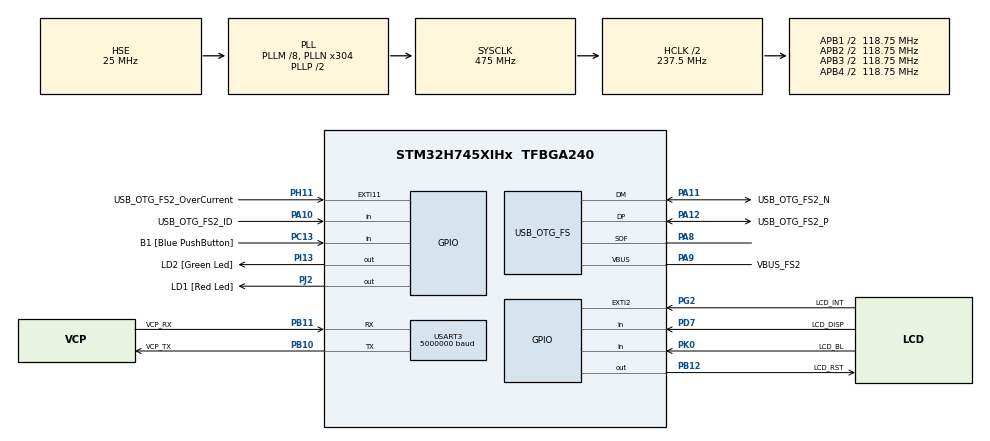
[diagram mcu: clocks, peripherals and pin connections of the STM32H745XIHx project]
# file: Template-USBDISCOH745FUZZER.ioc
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CRC.InputDataFormat=CRC_INPUTDATA_FORMAT_WORDS
CRC.InputDataInversionMode=CRC_INPUTDATA_INVERSION_WORD
CRC.OutputDataInversionMode=CRC_OUTPUTDATA_INVERSION_ENABLE
CortexM4.IPs=FATFS_M4\:I,FREERTOS_M4\:I,IWDG2\:I,RCC,USB_DEVICE_M4\:I,USB_HOST_M4\:I,WWDG2\:I,DMA,BDMA,MDMA,NVIC2\:I,SAI2\:I,LTDC\:I,SAI4\:I,DEBUG,PDM2PCM_M4\:I,PWR,RESMGR_UTILITY,SYS_M4\:I,CORTEX_M4\:I,OPENAMP_M4\:I,VREFBUF,GPIO,TIM17\:I
CortexM7.IPs=FATFS_M7\:I,FREERTOS_M7\:I,IWDG1\:I,RCC\:I,USB_DEVICE_M7\:I,USB_HOST_M7\:I,WWDG1\:I,DMA\:I,BDMA\:I,MDMA\:I,NVIC1\:I,CORTEX_M7\:I,DEBUG\:I,PDM2PCM_M7\:I,PWR\:I,RESMGR_UTILITY\:I,SYS\:I,OPENAMP_M7\:I,VREFBUF\:I,GPIO\:I,USART3\:I,USB_OTG_FS\:I,TIM16\:I,CRC\:I,RNG\:I
Mcu.Family=STM32H7
Mcu.Name=STM32H745XIHx
Mcu.Package=TFBGA240
NVIC1.OTG_FS_IRQn=true\:5\:0\:true\:false\:true\:false\:true\:true
NVIC1.PriorityGroup=NVIC_PRIORITYGROUP_4
NVIC1.TIM16_IRQn=true\:0\:0\:true\:false\:true\:false\:true\:true
NVIC1.TimeBase=TIM16_IRQn
NVIC1.TimeBaseIP=TIM16
NVIC1.USART3_IRQn=true\:5\:0\:true\:false\:true\:true\:true\:true
NVIC2.PriorityGroup=NVIC_PRIORITYGROUP_4
NVIC2.TIM17_IRQn=true\:15\:0\:false\:false\:true\:false\:true\:true
NVIC2.TimeBase=TIM17_IRQn
NVIC2.TimeBaseIP=TIM17
PA1.GPIO_Label=MII_RX_CLK
PA1.PinAttribute=CortexM4
PA1.Signal=ETH_RX_CLK
PA10.GPIO_Label=USB_OTG_FS2_ID
PA10.PinAttribute=Free
PA10.Signal=GPIO_Input
PA11.GPIO_Label=USB_OTG_FS2_N
PA11.Mode=Device_Only
PA11.PinAttribute=CortexM7
PA11.Signal=USB_OTG_FS_DM
PA12.GPIO_Label=USB_OTG_FS2_P
PA12.Mode=Device_Only
PA12.PinAttribute=CortexM7
PA12.Signal=USB_OTG_FS_DP
PA2.GPIO_Label=MII_MDIO
PA2.PinAttribute=CortexM4
PA2.Signal=ETH_MDIO
PA7.GPIO_Label=MII_RX_DV
PA7.PinAttribute=CortexM4
PA7.Signal=ETH_RX_DV
PA8.Mode=Activate_SOF_FS
PA8.PinAttribute=CortexM7
PA8.Signal=USB_OTG_FS_SOF
PA9.GPIO_Label=VBUS_FS2
PA9.Mode=Activate_VBUS
PA9.PinAttribute=CortexM7
PA9.Signal=USB_OTG_FS_VBUS
PB0.GPIO_Label=MII_RXD2
PB0.PinAttribute=CortexM4
PB0.Signal=ETH_RXD2
PB1.GPIO_Label=MII_RXD3
PB1.PinAttribute=CortexM4
PB1.Signal=ETH_RXD3
PB10.GPIO_Label=VCP_TX
PB10.Mode=Asynchronous
PB10.PinAttribute=CortexM7
PB10.Signal=USART3_TX
PB11.GPIO_Label=VCP_RX
PB11.Mode=Asynchronous
PB11.PinAttribute=CortexM7
PB11.Signal=USART3_RX
PB12.GPIO_Label=LCD_RST
PB12.PinAttribute=Free
PB12.Signal=GPIO_Output
PB13.GPIO_Label=FDCAN2_TX
PB13.PinAttribute=CortexM4
PB13.Signal=FDCAN2_TX
PB5.GPIO_Label=FDCAN2_RX
PB5.PinAttribute=CortexM4
PB5.Signal=FDCAN2_RX
PB6.PinAttribute=CortexM4
PB6.Signal=QUADSPI_BK1_NCS
PB8.GPIO_Label=SDIO1_D4
PB8.PinAttribute=CortexM4
PB8.Signal=SDMMC1_D4
PB9.GPIO_Label=SDIO1_D5
PB9.PinAttribute=CortexM4
PB9.Signal=SDMMC1_D5
PC1.GPIO_Label=MII_MDC
PC1.PinAttribute=CortexM4
PC1.Signal=ETH_MDC
PC10.GPIO_Label=SDIO1_D2
PC10.PinAttribute=CortexM4
PC10.Signal=SDMMC1_D2
PC11.GPIO_Label=SDIO1_D3
PC11.PinAttribute=CortexM4
PC11.Signal=SDMMC1_D3
PC12.GPIO_Label=SDIO1_CK
PC12.PinAttribute=CortexM4
PC12.Signal=SDMMC1_CK
PC13.GPIO_Label=B1 [Blue PushButton]
PC13.PinAttribute=Free
PC13.Signal=GPIO_Input
PC14-OSC32_IN\ (OSC32_IN).GPIO_Label=OSC32_IN
PC14-OSC32_IN\ (OSC32_IN).PinAttribute=CortexM7
PC14-OSC32_IN\ (OSC32_IN).Signal=RCC_OSC32_IN
PC15-OSC32_OUT\ (OSC32_OUT).GPIO_Label=OSC32_OUT
PC15-OSC32_OUT\ (OSC32_OUT).PinAttribute=CortexM7
PC15-OSC32_OUT\ (OSC32_OUT).Signal=RCC_OSC32_OUT
PC2.GPIO_Label=MII_TXD2
PC2.PinAttribute=CortexM4
PC2.Signal=ETH_TXD2
PC3.GPIO_Label=MII_TX_CLK
PC3.PinAttribute=CortexM4
PC3.Signal=ETH_TX_CLK
PC4.GPIO_Label=MII_RXD0
PC4.PinAttribute=CortexM4
PC4.Signal=ETH_RXD0
PC5.GPIO_Label=MII_RXD1
PC5.PinAttribute=CortexM4
PC5.Signal=ETH_RXD1
PC6.GPIO_Label=SDIO1_D6
PC6.PinAttribute=CortexM4
PC6.Signal=SDMMC1_D6
PC7.GPIO_Label=SDIO1_D7
PC7.PinAttribute=CortexM4
PC7.Signal=SDMMC1_D7
PC8.GPIO_Label=SDIO1_D0
PC8.PinAttribute=CortexM4
PC8.Signal=SDMMC1_D0
PC9.GPIO_Label=SDIO1_D1
PC9.PinAttribute=CortexM4
PC9.Signal=SDMMC1_D1
PD0.PinAttribute=CortexM4
PD0.Signal=FMC_D2_DA2
PD1.PinAttribute=CortexM4
PD1.Signal=FMC_D3_DA3
PD10.PinAttribute=CortexM4
PD10.Signal=FMC_D15_DA15
PD11.PinAttribute=CortexM4
PD11.Signal=QUADSPI_BK1_IO0
PD14.PinAttribute=CortexM4
PD14.Signal=FMC_D0_DA0
PD15.PinAttribute=CortexM4
PD15.Signal=FMC_D1_DA1
PD2.GPIO_Label=SDIO1_CMD
PD2.PinAttribute=CortexM4
PD2.Signal=SDMMC1_CMD
PD7.GPIO_Label=LCD_DISP
PD7.PinAttribute=Free
PD7.Signal=GPIO_Input
PD8.PinAttribute=CortexM4
PD8.Signal=FMC_D13_DA13
PD9.PinAttribute=CortexM4
PD9.Signal=FMC_D14_DA14
PE0.PinAttribute=CortexM4
PE0.Signal=FMC_NBL0
PE1.PinAttribute=CortexM4
PE1.Signal=FMC_NBL1
PE10.PinAttribute=CortexM4
PE10.Signal=FMC_D7_DA7
PE11.PinAttribute=CortexM4
PE11.Signal=FMC_D8_DA8
PE12.PinAttribute=CortexM4
PE12.Signal=FMC_D9_DA9
PE13.PinAttribute=CortexM4
PE13.Signal=FMC_D10_DA10
PE14.PinAttribute=CortexM4
PE14.Signal=FMC_D11_DA11
PE15.PinAttribute=CortexM4
PE15.Signal=FMC_D12_DA12
PE2.GPIO_Label=MII_TXD3
PE2.PinAttribute=CortexM4
PE2.Signal=ETH_TXD3
PE4.PinAttribute=CortexM4
PE4.Signal=SAI4_D2
PE5.PinAttribute=CortexM4
PE5.Signal=SAI4_CK2
PE7.PinAttribute=CortexM4
PE7.Signal=FMC_D4_DA4
PE8.PinAttribute=CortexM4
PE8.Signal=FMC_D5_DA5
PE9.PinAttribute=CortexM4
PE9.Signal=FMC_D6_DA6
PF0.PinAttribute=CortexM4
PF0.Signal=FMC_A0
PF1.PinAttribute=CortexM4
PF1.Signal=FMC_A1
PF10.PinAttribute=CortexM4
PF10.Signal=QUADSPI_CLK
PF11.PinAttribute=CortexM4
PF11.Signal=FMC_SDNRAS
PF12.PinAttribute=CortexM4
PF12.Signal=FMC_A6
PF13.PinAttribute=CortexM4
PF13.Signal=FMC_A7
PF14.PinAttribute=CortexM4
PF14.Signal=FMC_A8
PF15.PinAttribute=CortexM4
PF15.Signal=FMC_A9
PF2.PinAttribute=CortexM4
PF2.Signal=FMC_A2
PF3.PinAttribute=CortexM4
PF3.Signal=FMC_A3
PF4.PinAttribute=CortexM4
PF4.Signal=FMC_A4
PF5.PinAttribute=CortexM4
PF5.Signal=FMC_A5
PF6.PinAttribute=CortexM4
PF6.Signal=QUADSPI_BK1_IO3
PF7.PinAttribute=CortexM4
PF7.Signal=QUADSPI_BK1_IO2
PF9.PinAttribute=CortexM4
PF9.Signal=QUADSPI_BK1_IO1
PG0.PinAttribute=CortexM4
PG0.Signal=FMC_A10
PG1.PinAttribute=CortexM4
PG1.Signal=FMC_A11
PG10.PinAttribute=CortexM4
PG10.Signal=SAI2_SD_B
PG11.GPIO_Label=MII_TX_EN
PG11.PinAttribute=CortexM4
PG11.Signal=ETH_TX_EN
PG12.GPIO_Label=MII_TXD1
PG12.PinAttribute=CortexM4
PG12.Signal=ETH_TXD1
PG13.GPIO_Label=MII_TXD0
PG13.PinAttribute=CortexM4
PG13.Signal=ETH_TXD0
PG15.PinAttribute=CortexM4
PG15.Signal=FMC_SDNCAS
PG2.GPIO_Label=LCD_INT
PG2.PinAttribute=Free
PG2.Signal=GPXTI2
PG4.PinAttribute=CortexM4
PG4.Signal=FMC_A14_BA0
PG5.PinAttribute=CortexM4
PG5.Signal=FMC_A15_BA1
PG8.PinAttribute=CortexM4
PG8.Signal=FMC_SDCLK
PH0-OSC_IN\ (PH0).GPIO_Label=OSC_IN
PH0-OSC_IN\ (PH0).Mode=HSE-External-Clock-Source
PH0-OSC_IN\ (PH0).PinAttribute=CortexM7
PH0-OSC_IN\ (PH0).Signal=RCC_OSC_IN
PH1-OSC_OUT\ (PH1).GPIO_Label=OSC_OUT
PH1-OSC_OUT\ (PH1).PinAttribute=CortexM7
PH1-OSC_OUT\ (PH1).Signal=RCC_OSC_OUT
PH11.GPIO_Label=USB_OTG_FS2_OverCurrent
PH11.PinAttribute=Free
PH11.Signal=GPXTI11
PH13.GPIO_Label=FDCAN1_TX
PH13.PinAttribute=CortexM4
PH13.Signal=FDCAN1_TX
PH14.GPIO_Label=FDCAN2_RX
PH14.PinAttribute=CortexM4
PH14.Signal=FDCAN1_RX
PH2.GPIO_Label=MII_CRS
PH2.PinAttribute=CortexM4
PH2.Signal=ETH_CRS
PH3.GPIO_Label=MII_COL
PH3.PinAttribute=CortexM4
PH3.Signal=ETH_COL
PH5.PinAttribute=CortexM4
PH5.Signal=FMC_SDNWE
PH6.PinAttribute=CortexM4
PH6.Signal=FMC_SDNE1
PH7.PinAttribute=CortexM4
PH7.Signal=FMC_SDCKE1
PH9.PinAttribute=CortexM4
PH9.Signal=LTDC_R3
PI0.PinAttribute=CortexM4
PI0.Signal=LTDC_G5
PI1.PinAttribute=CortexM4
PI1.Signal=LTDC_G6
PI10.GPIO_Label=MII_RX_ER
PI10.PinAttribute=CortexM4
PI10.Signal=ETH_RX_ER
PI12.PinAttribute=CortexM4
PI12.Signal=LTDC_HSYNC
PI13.GPIO_Label=LD2 [Green Led]
PI13.PinAttribute=Free
PI13.Signal=GPIO_Output
PI14.PinAttribute=CortexM4
PI14.Signal=LTDC_CLK
PI15.PinAttribute=CortexM4
PI15.Signal=LTDC_R0
PI4.PinAttribute=CortexM4
PI4.Signal=SAI2_MCLK_A
PI5.PinAttribute=CortexM4
PI5.Signal=SAI2_SCK_A
PI6.PinAttribute=CortexM4
PI6.Signal=SAI2_SD_A
PI7.PinAttribute=CortexM4
PI7.Signal=SAI2_FS_A
PI9.PinAttribute=CortexM4
PI9.Signal=LTDC_VSYNC
PJ0.PinAttribute=CortexM4
PJ0.Signal=LTDC_R1
PJ1.PinAttribute=CortexM4
PJ1.Signal=LTDC_R2
PJ10.PinAttribute=CortexM4
PJ10.Signal=LTDC_G3
PJ11.PinAttribute=CortexM4
PJ11.Signal=LTDC_G4
PJ12.PinAttribute=CortexM4
PJ12.Signal=LTDC_B0
PJ13.PinAttribute=CortexM4
PJ13.Signal=LTDC_B1
PJ14.PinAttribute=CortexM4
PJ14.Signal=LTDC_B2
PJ15.GPIO_Label=LCD_DISP
PJ15.PinAttribute=CortexM4
PJ15.Signal=LTDC_B3
PJ2.GPIO_Label=LD1 [Red Led]
PJ2.PinAttribute=Free
PJ2.Signal=GPIO_Output
PJ3.PinAttribute=CortexM4
PJ3.Signal=LTDC_R4
PJ4.PinAttribute=CortexM4
PJ4.Signal=LTDC_R5
PJ5.PinAttribute=CortexM4
PJ5.Signal=LTDC_R6
PJ6.PinAttribute=CortexM4
PJ6.Signal=LTDC_R7
PJ7.PinAttribute=CortexM4
PJ7.Signal=LTDC_G0
PJ8.PinAttribute=CortexM4
PJ8.Signal=LTDC_G1
PJ9.PinAttribute=CortexM4
PJ9.Signal=LTDC_G2
PK0.GPIO_Label=LCD_BL
PK0.PinAttribute=Free
PK0.Signal=GPIO_Input
PK2.PinAttribute=CortexM4
PK2.Signal=LTDC_G7
PK3.PinAttribute=CortexM4
PK3.Signal=LTDC_B4
PK4.PinAttribute=CortexM4
PK4.Signal=LTDC_B5
PK5.PinAttribute=CortexM4
PK5.Signal=LTDC_B6
PK6.PinAttribute=CortexM4
PK6.Signal=LTDC_B7
PK7.PinAttribute=CortexM4
PK7.Signal=LTDC_DE
ProjectManager.HeapSize=M4-0x200,M7-0x200
ProjectManager.StackSize=M4-0x400,M7-0x400
ProjectManager.TargetToolchain=STM32CubeIDE
RCC.ADCFreq_Value=33593750
RCC.APB1Freq_Value=118750000
RCC.APB2Freq_Value=118750000
RCC.APB3Freq_Value=118750000
RCC.APB4Freq_Value=118750000
RCC.CortexFreq_Value=475000000
RCC.D1PPRE=RCC_APB3_DIV2
RCC.D2PPRE1=RCC_APB1_DIV2
RCC.D2PPRE2=RCC_APB2_DIV2
RCC.D3PPRE=RCC_APB4_DIV2
RCC.DIVM1=8
RCC.DIVM2=16
RCC.DIVM3=5
RCC.DIVN1=304
RCC.DIVN3=96
RCC.DIVP2=6
RCC.DIVQ3=10
RCC.DIVR1=4
RCC.HCLKFreq_Value=237500000
RCC.HPRE=RCC_HCLK_DIV2
RCC.PLL1_VCI_Range-AdvancedSettings=RCC_PLL1VCIRANGE_0
RCC.PLL2FRACN=0
RCC.PLL2_VCI_Range-AdvancedSettings=RCC_PLL2VCIRANGE_0
RCC.PLL3FRACN=0
RCC.PLLFRACN=0
RCC.PWR_Regulator_Voltage_Scale=PWR_REGULATOR_VOLTAGE_SCALE0
RCC.SAI23CLockSelection=RCC_SAI23CLKSOURCE_PLL2
RCC.SYSCLKFreq_VALUE=475000000
RCC.SYSCLKSource=RCC_SYSCLKSOURCE_PLLCLK
RCC.SupplySource=PWR_DIRECT_SMPS_SUPPLY
RCC.USBCLockSelection=RCC_USBCLKSOURCE_PLL3
RCC.USBFreq_Value=48000000
SH.FMC_A0.0=FMC_A0
SH.FMC_A1.0=FMC_A1
SH.FMC_A10.0=FMC_A10
SH.FMC_A11.0=FMC_A11
SH.FMC_A14_BA0.0=FMC_BA0
SH.FMC_A15_BA1.0=FMC_BA1
SH.FMC_A2.0=FMC_A2
SH.FMC_A3.0=FMC_A3
SH.FMC_A4.0=FMC_A4
SH.FMC_A5.0=FMC_A5
SH.FMC_A6.0=FMC_A6
SH.FMC_A7.0=FMC_A7
SH.FMC_A8.0=FMC_A8
SH.FMC_A9.0=FMC_A9
SH.FMC_D0_DA0.0=FMC_D0
SH.FMC_D10_DA10.0=FMC_D10
SH.FMC_D11_DA11.0=FMC_D11
SH.FMC_D12_DA12.0=FMC_D12
SH.FMC_D13_DA13.0=FMC_D13
SH.FMC_D14_DA14.0=FMC_D14
SH.FMC_D15_DA15.0=FMC_D15
SH.FMC_D1_DA1.0=FMC_D1
SH.FMC_D2_DA2.0=FMC_D2
SH.FMC_D3_DA3.0=FMC_D3
SH.FMC_D4_DA4.0=FMC_D4
SH.FMC_D5_DA5.0=FMC_D5
SH.FMC_D6_DA6.0=FMC_D6
SH.FMC_D7_DA7.0=FMC_D7
SH.FMC_D8_DA8.0=FMC_D8
SH.FMC_D9_DA9.0=FMC_D9
SH.FMC_NBL0.0=FMC_NBL0
SH.FMC_NBL1.0=FMC_NBL1
SH.FMC_SDCLK.0=FMC_SDCLK
SH.FMC_SDNCAS.0=FMC_SDNCAS
SH.FMC_SDNRAS.0=FMC_SDNRAS
SH.FMC_SDNWE.0=FMC_SDNWE
USART3.BaudRate=5000000
USART3.VirtualMode-Asynchronous=VM_ASYNC
USB_DEVICE_M7.CLASS_NAME_FS=CDC
USB_DEVICE_M7.VirtualMode-CDC_FS=Cdc
USB_DEVICE_M7.VirtualModeFS=Cdc_FS
USB_OTG_FS.VirtualMode=Device_Only
VP_CRC_VS_CRC.Mode=CRC_Activate
VP_RNG_VS_RNG.Mode=RNG_Activate
VP_SYS_M4_VS_tim17.Mode=TIM17
VP_SYS_VS_tim16.Mode=TIM16
VP_USB_DEVICE_M7_VS_USB_DEVICE_CDC_FS.Mode=CDC_FS
board=STM32H745I-DISCO

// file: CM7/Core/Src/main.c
/* USER CODE BEGIN Header */
/**
  ******************************************************************************
  * @file           : main.c
  * @brief          : Main program body
  ******************************************************************************
  * @attention
  *
  * Copyright (c) 2023 STMicroelectronics.
  * All rights reserved.
  *
  * This software is licensed under terms that can be found in the LICENSE file
  * in the root directory of this software component.
  * If no LICENSE file comes with this software, it is provided AS-IS.
  *
  ******************************************************************************
  */
/* USER CODE END Header */
#include "main.h"
#include "usb_device.h"

/* USER CODE BEGIN Includes */
#include "fuzzing.h"
#include "app_main.h"
#include "string.h"
#include "stdlib.h"
/* USER CODE END Includes */

/* USER CODE BEGIN PD */

#ifndef HSEM_ID_0
#define HSEM_ID_0 (0U) /* HW semaphore 0*/
#endif

//volatile uint8_t * buf2;
volatile uint32_t testextern;
//extern uint32_t __user_heap_start__[];

extern uint32_t __user_heap_start__[];

/* USER CODE END PD */

CRC_HandleTypeDef hcrc;

RNG_HandleTypeDef hrng;

UART_HandleTypeDef huart3;

/* USER CODE BEGIN PV */
void __io_putchar(uint8_t ch) {
HAL_UART_Transmit(&huart3, &ch, 1, 1);
}
/* USER CODE END PV */

void SystemClock_Config(void);
static void MX_GPIO_Init(void);
static void MX_USART3_UART_Init(void);
static void MX_CRC_Init(void);
static void MX_RNG_Init(void);

int main(void)
{
  /* USER CODE BEGIN 1 */
	SCB_EnableICache();

  /* USER CODE END 1 */
/* USER CODE BEGIN Boot_Mode_Sequence_0 */
  int32_t timeout;
/* USER CODE END Boot_Mode_Sequence_0 */

/* USER CODE BEGIN Boot_Mode_Sequence_1 */
  /* Wait until CPU2 boots and enters in stop mode or timeout*/
  timeout = 0xFFFF;
  while((__HAL_RCC_GET_FLAG(RCC_FLAG_D2CKRDY) != RESET) && (timeout-- > 0));
  if ( timeout < 0 )
  {
  Error_Handler();
  }
/* USER CODE END Boot_Mode_Sequence_1 */
  /* MCU Configuration--------------------------------------------------------*/

  /* Reset of all peripherals, Initializes the Flash interface and the Systick. */
  HAL_Init();

  /* USER CODE BEGIN Init */
  activateCortexMtraps();

  /* USER CODE END Init */

  /* Configure the system clock */
  SystemClock_Config();
/* USER CODE BEGIN Boot_Mode_Sequence_2 */
/* When system initialization is finished, Cortex-M7 will release Cortex-M4 by means of
HSEM notification */
/*HW semaphore Clock enable*/
__HAL_RCC_HSEM_CLK_ENABLE();
/*Take HSEM */
HAL_HSEM_FastTake(HSEM_ID_0);
/*Release HSEM in order to notify the CPU2(CM4)*/
HAL_HSEM_Release(HSEM_ID_0,0);
/* wait until CPU2 wakes up from stop mode */
timeout = 0xFFFF;
while((__HAL_RCC_GET_FLAG(RCC_FLAG_D2CKRDY) == RESET) && (timeout-- > 0));
if ( timeout < 0 )
{
Error_Handler();
}
/* USER CODE END Boot_Mode_Sequence_2 */

  /* Initialize all configured peripherals */
  MX_GPIO_Init();
  MX_USART3_UART_Init();
  MX_USB_DEVICE_Init();
  MX_CRC_Init();
  MX_RNG_Init();
  /* USER CODE BEGIN 2 */

  uint8_t text[]="test";
  HAL_UART_Transmit(&huart3, text, sizeof(text), 100);

  testextern = (uint32_t)__user_heap_start__;
  app_main();

  /* USER CODE END 2 */

  /* Infinite loop */
  while (1)
  {

  }
}

void SystemClock_Config(void)
{
  RCC_OscInitTypeDef RCC_OscInitStruct = {0};
  RCC_ClkInitTypeDef RCC_ClkInitStruct = {0};

  /** Supply configuration update enable
  */
  HAL_PWREx_ConfigSupply(PWR_DIRECT_SMPS_SUPPLY);

  /** Configure the main internal regulator output voltage
  */
  __HAL_PWR_VOLTAGESCALING_CONFIG(PWR_REGULATOR_VOLTAGE_SCALE0);

  while(!__HAL_PWR_GET_FLAG(PWR_FLAG_VOSRDY)) {}

  /** Macro to configure the PLL clock source
  */
  __HAL_RCC_PLL_PLLSOURCE_CONFIG(RCC_PLLSOURCE_HSE);

  /** Initializes the RCC Oscillators according to the specified parameters
  * in the RCC_OscInitTypeDef structure.
  */
  RCC_OscInitStruct.OscillatorType = RCC_OSCILLATORTYPE_HSI48|RCC_OSCILLATORTYPE_HSE;
  RCC_OscInitStruct.HSEState = RCC_HSE_BYPASS;
  RCC_OscInitStruct.HSI48State = RCC_HSI48_ON;
  RCC_OscInitStruct.PLL.PLLState = RCC_PLL_ON;
  RCC_OscInitStruct.PLL.PLLSource = RCC_PLLSOURCE_HSE;
  RCC_OscInitStruct.PLL.PLLM = 8;
  RCC_OscInitStruct.PLL.PLLN = 304;
  RCC_OscInitStruct.PLL.PLLP = 2;
  RCC_OscInitStruct.PLL.PLLQ = 2;
  RCC_OscInitStruct.PLL.PLLR = 4;
  RCC_OscInitStruct.PLL.PLLRGE = RCC_PLL1VCIRANGE_1;
  RCC_OscInitStruct.PLL.PLLVCOSEL = RCC_PLL1VCOWIDE;
  RCC_OscInitStruct.PLL.PLLFRACN = 0;
  if (HAL_RCC_OscConfig(&RCC_OscInitStruct) != HAL_OK)
  {
    Error_Handler();
  }

  /** Initializes the CPU, AHB and APB buses clocks
  */
  RCC_ClkInitStruct.ClockType = RCC_CLOCKTYPE_HCLK|RCC_CLOCKTYPE_SYSCLK
                              |RCC_CLOCKTYPE_PCLK1|RCC_CLOCKTYPE_PCLK2
                              |RCC_CLOCKTYPE_D3PCLK1|RCC_CLOCKTYPE_D1PCLK1;
  RCC_ClkInitStruct.SYSCLKSource = RCC_SYSCLKSOURCE_PLLCLK;
  RCC_ClkInitStruct.SYSCLKDivider = RCC_SYSCLK_DIV1;
  RCC_ClkInitStruct.AHBCLKDivider = RCC_HCLK_DIV2;
  RCC_ClkInitStruct.APB3CLKDivider = RCC_APB3_DIV2;
  RCC_ClkInitStruct.APB1CLKDivider = RCC_APB1_DIV2;
  RCC_ClkInitStruct.APB2CLKDivider = RCC_APB2_DIV2;
  RCC_ClkInitStruct.APB4CLKDivider = RCC_APB4_DIV2;

  if (HAL_RCC_ClockConfig(&RCC_ClkInitStruct, FLASH_LATENCY_4) != HAL_OK)
  {
    Error_Handler();
  }
}

static void MX_CRC_Init(void)
{

  hcrc.Instance = CRC;
  hcrc.Init.DefaultPolynomialUse = DEFAULT_POLYNOMIAL_ENABLE;
  hcrc.Init.DefaultInitValueUse = DEFAULT_INIT_VALUE_ENABLE;
  hcrc.Init.InputDataInversionMode = CRC_INPUTDATA_INVERSION_WORD;
  hcrc.Init.OutputDataInversionMode = CRC_OUTPUTDATA_INVERSION_ENABLE;
  hcrc.InputDataFormat = CRC_INPUTDATA_FORMAT_WORDS;
  if (HAL_CRC_Init(&hcrc) != HAL_OK)
  {
    Error_Handler();
  }

}

static void MX_RNG_Init(void)
{

  hrng.Instance = RNG;
  hrng.Init.ClockErrorDetection = RNG_CED_ENABLE;
  if (HAL_RNG_Init(&hrng) != HAL_OK)
  {
    Error_Handler();
  }

}

static void MX_USART3_UART_Init(void)
{

  huart3.Instance = USART3;
  huart3.Init.BaudRate = 5000000;
  huart3.Init.WordLength = UART_WORDLENGTH_8B;
  huart3.Init.StopBits = UART_STOPBITS_1;
  huart3.Init.Parity = UART_PARITY_NONE;
  huart3.Init.Mode = UART_MODE_TX_RX;
  huart3.Init.HwFlowCtl = UART_HWCONTROL_NONE;
  huart3.Init.OverSampling = UART_OVERSAMPLING_16;
  huart3.Init.OneBitSampling = UART_ONE_BIT_SAMPLE_DISABLE;
  huart3.Init.ClockPrescaler = UART_PRESCALER_DIV1;
  huart3.AdvancedInit.AdvFeatureInit = UART_ADVFEATURE_NO_INIT;
  if (HAL_UART_Init(&huart3) != HAL_OK)
  {
    Error_Handler();
  }
  if (HAL_UARTEx_SetTxFifoThreshold(&huart3, UART_TXFIFO_THRESHOLD_1_8) != HAL_OK)
  {
    Error_Handler();
  }
  if (HAL_UARTEx_SetRxFifoThreshold(&huart3, UART_RXFIFO_THRESHOLD_1_8) != HAL_OK)
  {
    Error_Handler();
  }
  if (HAL_UARTEx_DisableFifoMode(&huart3) != HAL_OK)
  {
    Error_Handler();
  }

}

static void MX_GPIO_Init(void)
{

  /* GPIO Ports Clock Enable */
  __HAL_RCC_GPIOC_CLK_ENABLE();
  __HAL_RCC_GPIOA_CLK_ENABLE();
  __HAL_RCC_GPIOH_CLK_ENABLE();
  __HAL_RCC_GPIOB_CLK_ENABLE();

}

void HAL_TIM_PeriodElapsedCallback(TIM_HandleTypeDef *htim)
{
  if (htim->Instance == TIM16) {
    HAL_IncTick();
  }
}

void Error_Handler(void)
{
  __disable_irq();
  while (1)
  {
  }
}
